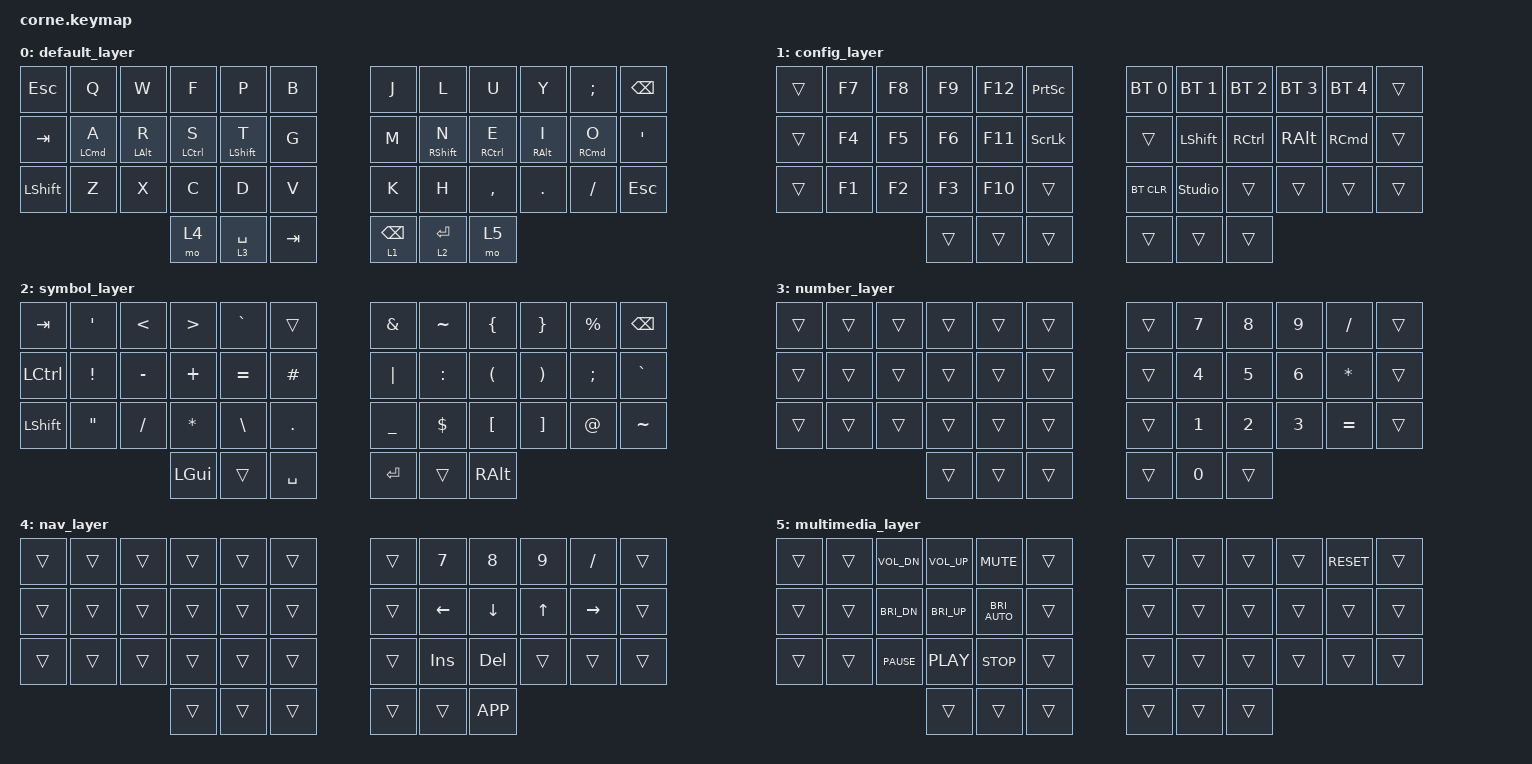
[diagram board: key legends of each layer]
/*
 * Copyright (c) 2020 The ZMK Contributors
 *
 * SPDX-License-Identifier: MIT
 */

#include <behaviors.dtsi>
#include <dt-bindings/zmk/bt.h>
#include <dt-bindings/zmk/keys.h>

/ {
    combos {
        compatible = "zmk,combos";

        Escape {
            bindings = <&kp ESCAPE>;
            key-positions = <1 2>;
        };
    };

    behaviors {
        hm: hm {
            compatible = "zmk,behavior-hold-tap";
            label = "HM";
            bindings = <&kp>, <&kp>;

            #binding-cells = <2>;
            tapping-term-ms = <200>;
            quick-tap-ms = <200>;
            require-prior-idle-ms = <200>;
            flavor = "tap-preferred";
        };

        ls: ls {
            compatible = "zmk,behavior-hold-tap";
            label = "LS";
            bindings = <&mo>, <&kp>;

            #binding-cells = <2>;
            tapping-term-ms = <200>;
            quick-tap-ms = <200>;
            require-prior-idle-ms = <200>;
            flavor = "tap-preferred";
        };
    };

    keymap {
        compatible = "zmk,keymap";

        default_layer {
            // -----------------------------------------------------------------------------------------
            // |  TAB |  Q  |  W  |  E  |  R  |  T  |   |  Y  |  U   |  I  |  O  |  P  | BSPC |
            // | CTRL |  A  |  S  |  D  |  F  |  G  |   |  H  |  J   |  K  |  L  |  ;  |  '   |
            // | SHFT |  Z  |  X  |  C  |  V  |  B  |   |  N  |  M   |  ,  |  .  |  /  | ESC  |
            //                    | GUI | LWR | SPC |   | ENT | RSE  | ALT |

            bindings = <
&kp ESC    &kp Q               &kp W           &kp F        &kp P             &kp B      &kp J            &kp L              &kp U                &kp Y            &kp SEMI             &kp BSPC
&kp TAB    &hm LEFT_COMMAND A  &hm LEFT_ALT R  &hm LCTRL S  &hm LEFT_SHIFT T  &kp G      &kp M            &hm RIGHT_SHIFT N  &hm RIGHT_CONTROL E  &hm RIGHT_ALT I  &hm RIGHT_COMMAND O  &kp SQT
&kp LSHFT  &kp Z               &kp X           &kp C        &kp D             &kp V      &kp K            &kp H              &kp COMMA            &kp DOT          &kp FSLH             &kp ESC
                                               &mo 4        &ls 3 SPACE       &kp TAB    &ls 1 BACKSPACE  &lt 2 RET          &mo 5
            >;
        };

        config_layer {
            // -----------------------------------------------------------------------------------------
            // |  TAB |  1  |  2  |  3  |  4  |  5  |   |  6  |  7  |  8  |  9  |  0  | BSPC |
            // | BTCLR| BT1 | BT2 | BT3 | BT4 | BT5 |   | LFT | DWN |  UP | RGT |     |      |
            // | SHFT |     |     |     |     |     |   |     |     |     |     |     |      |
            //                    | GUI |     | SPC |   | ENT |     | ALT |

            bindings = <
&trans  &kp F7  &kp F8  &kp F9  &kp F12  &kp PSCRN    &bt BT_SEL 0  &bt BT_SEL 1    &bt BT_SEL 2       &bt BT_SEL 3   &bt BT_SEL 4       &trans
&trans  &kp F4  &kp F5  &kp F6  &kp F11  &kp SLCK     &trans        &kp LEFT_SHIFT  &kp RIGHT_CONTROL  &kp RIGHT_ALT  &kp RIGHT_COMMAND  &trans
&trans  &kp F1  &kp F2  &kp F3  &kp F10  &trans       &bt BT_CLR    &studio_unlock  &trans             &trans         &trans             &trans
                        &trans  &trans   &trans       &trans        &trans          &trans
            >;
        };

        symbol_layer {
            // -----------------------------------------------------------------------------------------
            // |  TAB |  !  |  @  |  #  |  $  |  %  |   |  ^  |  &  |  *  |  (  |  )  | BSPC |
            // | CTRL |     |     |     |     |     |   |  -  |  =  |  [  |  ]  |  \  |  `   |
            // | SHFT |     |     |     |     |     |   |  _  |  +  |  {  |  }  | "|" |  ~   |
            //                    | GUI |     | SPC |   | ENT |     | ALT |

            bindings = <
&kp TAB    &kp SQT            &kp LESS_THAN  &kp GREATER_THAN  &kp GRAVE  &trans       &kp AMPERSAND  &kp TILDE   &kp LEFT_BRACE        &kp RIGHT_BRACE        &kp PERCENT    &kp BSPC
&kp LCTRL  &kp EXCLAMATION    &kp MINUS      &kp PLUS          &kp EQUAL  &kp POUND    &kp PIPE       &kp COLON   &kp LEFT_PARENTHESIS  &kp RIGHT_PARENTHESIS  &kp SEMICOLON  &kp GRAVE
&kp LSHFT  &kp DOUBLE_QUOTES  &kp SLASH      &kp ASTERISK      &kp BSLH   &kp DOT      &kp UNDER      &kp DOLLAR  &kp LEFT_BRACKET      &kp RIGHT_BRACKET      &kp AT_SIGN    &kp TILDE
                                             &kp LGUI          &trans     &kp SPACE    &kp RET        &trans      &kp RALT
            >;
        };

        number_layer {
            bindings = <
&trans  &trans  &trans  &trans  &trans  &trans    &trans  &kp N7  &kp N8  &kp N9  &kp FSLH      &trans
&trans  &trans  &trans  &trans  &trans  &trans    &trans  &kp N4  &kp N5  &kp N6  &kp ASTERISK  &trans
&trans  &trans  &trans  &trans  &trans  &trans    &trans  &kp N1  &kp N2  &kp N3  &kp EQUAL     &trans
                        &trans  &trans  &trans    &trans  &kp N0  &trans
            >;
        };

        nav_layer {
            bindings = <
&trans  &trans  &trans  &trans  &trans  &trans    &trans  &kp N7    &kp N8     &kp N9  &kp FSLH   &trans
&trans  &trans  &trans  &trans  &trans  &trans    &trans  &kp LEFT  &kp DOWN   &kp UP  &kp RIGHT  &trans
&trans  &trans  &trans  &trans  &trans  &trans    &trans  &kp INS   &kp DEL    &trans  &trans     &trans
                        &trans  &trans  &trans    &trans  &trans    &kp K_APP
            >;
        };

        multimedia_layer {
            bindings = <
&trans  &trans  &kp C_VOL_DN  &kp C_VOL_UP  &kp C_MUTE      &trans    &trans  &trans  &trans  &trans  &kp C_RESET  &trans
&trans  &trans  &kp C_BRI_DN  &kp C_BRI_UP  &kp C_BRI_AUTO  &trans    &trans  &trans  &trans  &trans  &trans       &trans
&trans  &trans  &kp C_PAUSE   &kp C_PLAY    &kp C_STOP      &trans    &trans  &trans  &trans  &trans  &trans       &trans
                              &trans        &trans          &trans    &trans  &trans  &trans
            >;
        };
    };
};
